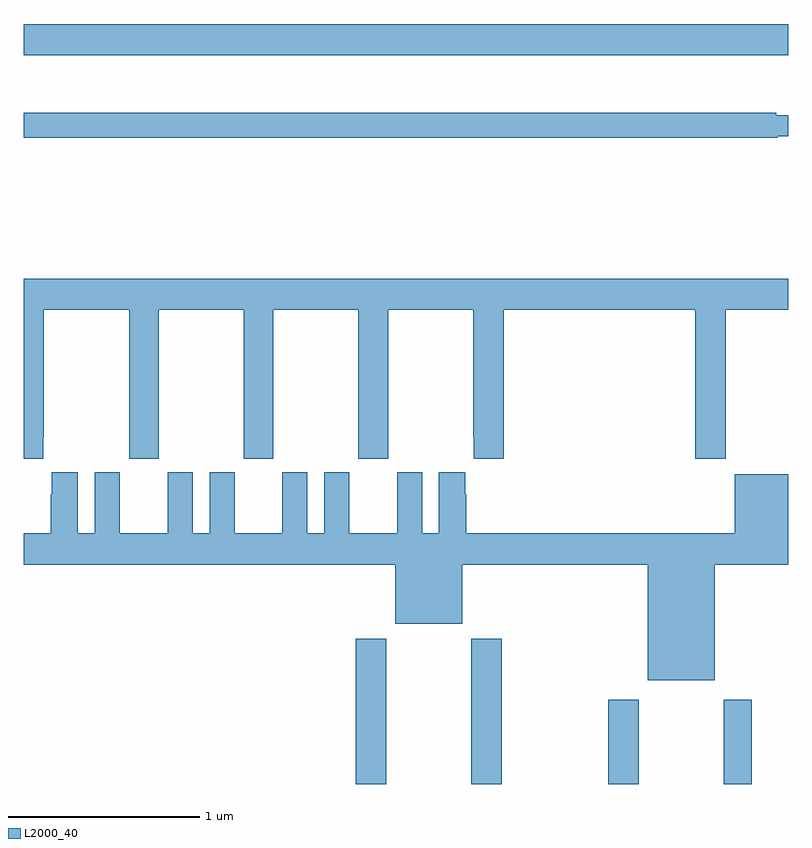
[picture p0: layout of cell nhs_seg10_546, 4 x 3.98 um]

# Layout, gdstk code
import gdstk
lib = gdstk.Library(unit=1e-6, precision=1e-09)
def R(c, l, rs):  # rectangles x0, y0, x1, y1
    for r in rs: c.add(gdstk.rectangle(r[:2], r[2:], *l))
def P(c, l, *ps):  # polygons
    for p in ps: c.add(gdstk.Polygon(p, *l))
L2000_40 = (2000, 40)

nhs_seg10_546 = lib.new_cell('nhs_seg10_546')
R(nhs_seg10_546, L2000_40, [(138.737,1300.5,138.897,1301.26), (139.342,1300.5,139.502,1301.26), (140.057,1300.5,140.217,1300.942), (140.662,1300.5,140.809,1300.942), (137,1304.312,141,1304.476)])
P(nhs_seg10_546, L2000_40, [(140.945,1303.89),(141,1303.89),(141,1303.998),(140.936,1303.998),(140.936,1304.011),(137,1304.011),(137,1303.882),(140.945,1303.882)],
  [(137,1302.201),(137.101,1302.201),(137.101,1302.313),(137.106,1302.313),(137.106,1302.98),(137.551,1302.98),(137.551,1302.201),(137.706,1302.201),(137.706,1302.98),(138.151,1302.98),(138.151,1302.201),(138.306,1302.201),(138.306,1302.98),(138.751,1302.98),(138.751,1302.201),(138.906,1302.201),(138.906,1302.98),(139.351,1302.98),(139.351,1302.313),(139.355,1302.313),(139.355,1302.201),(139.511,1302.201),(139.511,1302.98),(140.513,1302.98),(140.513,1302.201),(140.673,1302.201),(140.673,1302.98),(141,1302.98),(141,1303.144),(137,1303.144)],
  [(140.614,1301.648),(141,1301.648),(141,1302.121),(140.72,1302.121),(140.72,1301.812),(139.316,1301.812),(139.316,1302.017),(139.309,1302.017),(139.309,1302.13),(139.172,1302.13),(139.172,1301.812),(139.084,1301.812),(139.084,1302.13),(138.953,1302.13),(138.953,1301.812),(138.703,1301.812),(138.703,1302.13),(138.572,1302.13),(138.572,1301.812),(138.484,1301.812),(138.484,1302.13),(138.353,1302.13),(138.353,1301.812),(138.103,1301.812),(138.103,1302.13),(137.972,1302.13),(137.972,1301.812),(137.884,1301.812),(137.884,1302.13),(137.753,1302.13),(137.753,1301.812),(137.503,1301.812),(137.503,1302.13),(137.372,1302.13),(137.372,1301.812),(137.284,1301.812),(137.284,1302.13),(137.147,1302.13),(137.147,1302.017),(137.141,1302.017),(137.141,1301.812),(137,1301.812),(137,1301.648),(138.944,1301.648),(138.944,1301.339),(139.294,1301.339),(139.294,1301.648),(140.264,1301.648),(140.264,1301.042),(140.614,1301.042)])

lib.write_gds('nhs_seg10_546.gds')
